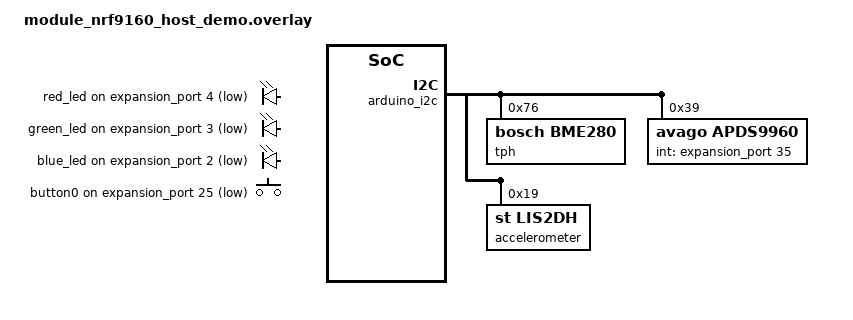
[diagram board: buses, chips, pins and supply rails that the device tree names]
/ {
    leds {
        compatible = "gpio-leds";
        red_led: led_1 {
            gpios = <&expansion_port 4 GPIO_ACTIVE_LOW>;
        };
        green_led: led_2 {
            gpios = <&expansion_port 3 GPIO_ACTIVE_LOW>;
        };
        blue_led: led_3 {
            gpios = <&expansion_port 2 GPIO_ACTIVE_LOW>;
        };
    };  

    buttons {
        compatible = "gpio-keys";
        button0: button_0 {
            gpios = <&expansion_port 25 (GPIO_ACTIVE_LOW | GPIO_PULL_UP)>;
        };
    };

    /** @TODO: Add Piezo Beeper */
    /** @TODO: Add Serial Flash */
    
    aliases {
		sw0 = &button0;
		led0 = &blue_led;
		led1 = &green_led;
		led2 = &blue_led;
    };
};

&arduino_i2c {
    status = "okay";

    tph: bme280@76 {
		compatible = "bosch,bme280";
		reg = <0x76>;
	};

    apds9960@39 {
		compatible = "avago,apds9960";
		reg = <0x39>;
        int-gpios = <&expansion_port 35 GPIO_PULL_UP>;
    };

	accelerometer: lis3dh@19 {
		compatible = "st,lis2dh";
		reg = <0x19>;
	};
};
